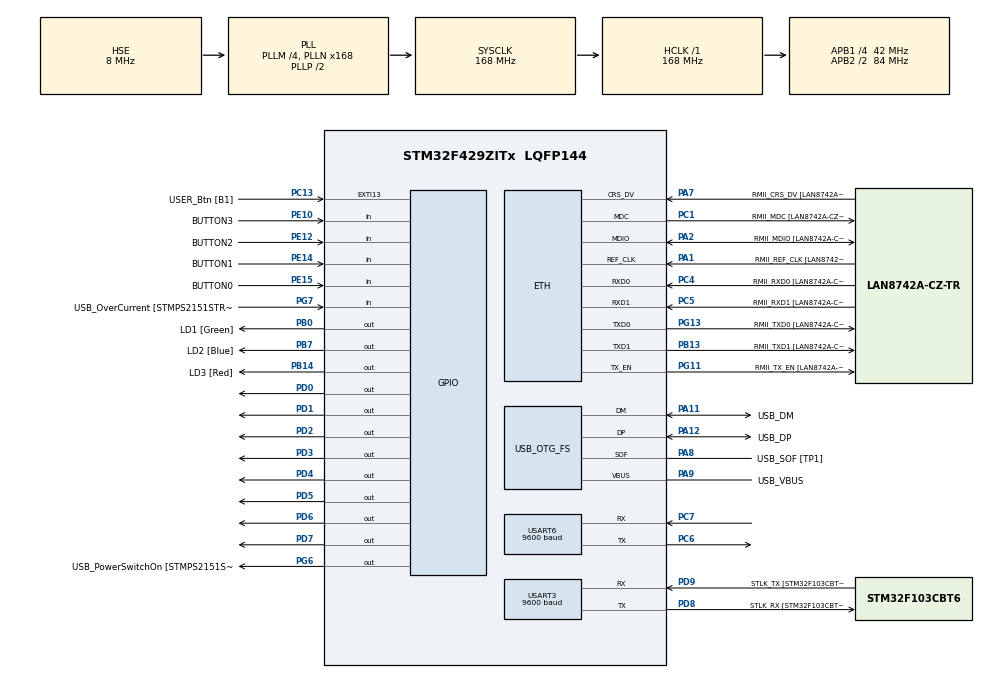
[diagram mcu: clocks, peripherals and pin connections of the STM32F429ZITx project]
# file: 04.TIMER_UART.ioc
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ETH.MediaInterface=HAL_ETH_RMII_MODE
ETH.PHY_Name=LAN8742A_PHY_ADDRESS
ETH.PHY_Value=0
ETH.PhyAddress=0
Mcu.Family=STM32F4
Mcu.Name=STM32F429ZITx
Mcu.Package=LQFP144
NVIC.PriorityGroup=NVIC_PRIORITYGROUP_4
NVIC.USART3_IRQn=true\:0\:0\:false\:false\:true\:true\:true\:true
NVIC.USART6_IRQn=true\:0\:0\:false\:false\:true\:true\:true\:true
PA1.GPIO_Label=RMII_REF_CLK [LAN8742A-CZ-TR_REFCLK0]
PA1.Mode=RMII
PA1.Signal=ETH_REF_CLK
PA10.GPIO_Label=USB_ID
PA10.Signal=USB_OTG_FS_ID
PA11.GPIO_Label=USB_DM
PA11.Mode=Device_Only
PA11.Signal=USB_OTG_FS_DM
PA12.GPIO_Label=USB_DP
PA12.Mode=Device_Only
PA12.Signal=USB_OTG_FS_DP
PA13.GPIO_Label=TMS
PA13.Mode=Serial_Wire
PA13.Signal=SYS_JTMS-SWDIO
PA14.GPIO_Label=TCK
PA14.Mode=Serial_Wire
PA14.Signal=SYS_JTCK-SWCLK
PA2.GPIO_Label=RMII_MDIO [LAN8742A-CZ-TR_MDIO]
PA2.Mode=RMII
PA2.Signal=ETH_MDIO
PA7.GPIO_Label=RMII_CRS_DV [LAN8742A-CZ-TR_CRS_DV]
PA7.Mode=RMII
PA7.Signal=ETH_CRS_DV
PA8.GPIO_Label=USB_SOF [TP1]
PA8.Mode=Activate_SOF_FS
PA8.Signal=USB_OTG_FS_SOF
PA9.GPIO_Label=USB_VBUS
PA9.Mode=Activate_VBUS
PA9.Signal=USB_OTG_FS_VBUS
PB0.GPIO_Label=LD1 [Green]
PB0.Signal=GPIO_Output
PB13.GPIO_Label=RMII_TXD1 [LAN8742A-CZ-TR_TXD1]
PB13.Mode=RMII
PB13.Signal=ETH_TXD1
PB14.GPIO_Label=LD3 [Red]
PB14.Signal=GPIO_Output
PB7.GPIO_Label=LD2 [Blue]
PB7.Signal=GPIO_Output
PC1.GPIO_Label=RMII_MDC [LAN8742A-CZ-TR_MDC]
PC1.Mode=RMII
PC1.Signal=ETH_MDC
PC13.GPIO_Label=USER_Btn [B1]
PC13.Signal=GPXTI13
PC14/OSC32_IN.Mode=LSE-External-Oscillator
PC14/OSC32_IN.Signal=RCC_OSC32_IN
PC15/OSC32_OUT.Mode=LSE-External-Oscillator
PC15/OSC32_OUT.Signal=RCC_OSC32_OUT
PC4.GPIO_Label=RMII_RXD0 [LAN8742A-CZ-TR_RXD0]
PC4.Mode=RMII
PC4.Signal=ETH_RXD0
PC5.GPIO_Label=RMII_RXD1 [LAN8742A-CZ-TR_RXD1]
PC5.Mode=RMII
PC5.Signal=ETH_RXD1
PC6.Mode=Asynchronous
PC6.Signal=USART6_TX
PC7.Mode=Asynchronous
PC7.Signal=USART6_RX
PD0.Signal=GPIO_Output
PD1.Signal=GPIO_Output
PD2.Signal=GPIO_Output
PD3.Signal=GPIO_Output
PD4.Signal=GPIO_Output
PD5.Signal=GPIO_Output
PD6.Signal=GPIO_Output
PD7.Signal=GPIO_Output
PD8.GPIO_Label=STLK_RX [STM32F103CBT6_PA3]
PD8.Mode=Asynchronous
PD8.Signal=USART3_TX
PD9.GPIO_Label=STLK_TX [STM32F103CBT6_PA2]
PD9.Mode=Asynchronous
PD9.Signal=USART3_RX
PE10.GPIO_Label=BUTTON3
PE10.Signal=GPIO_Input
PE12.GPIO_Label=BUTTON2
PE12.Signal=GPIO_Input
PE14.GPIO_Label=BUTTON1
PE14.Signal=GPIO_Input
PE15.GPIO_Label=BUTTON0
PE15.Signal=GPIO_Input
PG11.GPIO_Label=RMII_TX_EN [LAN8742A-CZ-TR_TXEN]
PG11.Mode=RMII
PG11.Signal=ETH_TX_EN
PG13.GPIO_Label=RMII_TXD0 [LAN8742A-CZ-TR_TXD0]
PG13.Mode=RMII
PG13.Signal=ETH_TXD0
PG6.GPIO_Label=USB_PowerSwitchOn [STMPS2151STR_EN]
PG6.Signal=GPIO_Output
PG7.GPIO_Label=USB_OverCurrent [STMPS2151STR_FAULT]
PG7.Signal=GPIO_Input
PH0/OSC_IN.GPIO_Label=MCO [STM32F103CBT6_PA8]
PH0/OSC_IN.Mode=HSE-External-Clock-Source
PH0/OSC_IN.Signal=RCC_OSC_IN
PH1/OSC_OUT.Mode=HSE-External-Clock-Source
PH1/OSC_OUT.Signal=RCC_OSC_OUT
ProjectManager.HeapSize=0x200
ProjectManager.StackSize=0x400
ProjectManager.TargetToolchain=STM32CubeIDE
RCC.48MHZClocksFreq_Value=48000000
RCC.AHBFreq_Value=168000000
RCC.APB1CLKDivider=RCC_HCLK_DIV4
RCC.APB1Freq_Value=42000000
RCC.APB1TimFreq_Value=84000000
RCC.APB2CLKDivider=RCC_HCLK_DIV2
RCC.APB2Freq_Value=84000000
RCC.APB2TimCLKDivider=2
RCC.APB2TimFreq_Value=168000000
RCC.CortexFreq_Value=168000000
RCC.HCLKFreq_Value=168000000
RCC.HSE_VALUE=8000000
RCC.HSI_VALUE=16000000
RCC.PLLM=4
RCC.PLLMUL=RCC_PLL_MUL9
RCC.PLLN=168
RCC.PLLQ=7
RCC.PRESCALERUSB=RCC_USBCLKSOURCE_PLL_DIV1_5
RCC.SYSCLKFreq_VALUE=168000000
RCC.SYSCLKSource=RCC_SYSCLKSOURCE_PLLCLK
RCC.SYSCLKSourceVirtual=RCC_SYSCLKSOURCE_PLLCLK
RCC.USBFreq_Value=48000000
RCC.VCOOutputFreq_Value=336000000
USART3.BaudRate=9600
USART3.VirtualMode=VM_ASYNC
USART6.BaudRate=9600
USART6.VirtualMode=VM_ASYNC
USB_OTG_FS.VirtualMode=Device_Only
board=NUCLEO-F429ZI

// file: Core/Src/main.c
/* USER CODE BEGIN Header */
/**
  ******************************************************************************
  * @file           : main.c
  * @brief          : Main program body
  ******************************************************************************
  * @attention
  *
  * Copyright (c) 2023 STMicroelectronics.
  * All rights reserved.
  *
  * This software is licensed under terms that can be found in the LICENSE file
  * in the root directory of this software component.
  * If no LICENSE file comes with this software, it is provided AS-IS.
  *
  ******************************************************************************
  */
/* USER CODE END Header */
#include "main.h"
#include "string.h"

ETH_TxPacketConfig TxConfig;
ETH_DMADescTypeDef  DMARxDscrTab[ETH_RX_DESC_CNT]; /* Ethernet Rx DMA Descriptors */
ETH_DMADescTypeDef  DMATxDscrTab[ETH_TX_DESC_CNT]; /* Ethernet Tx DMA Descriptors */

ETH_HandleTypeDef heth;

UART_HandleTypeDef huart3;							//
UART_HandleTypeDef huart6;							//

PCD_HandleTypeDef hpcd_USB_OTG_FS;

/* USER CODE BEGIN PV */
uint8_t rx_data;									// UART3 rx data
uint8_t bt_rx_data;									// UART6 bt rx data
/* USER CODE END PV */

void SystemClock_Config(void);
static void MX_GPIO_Init(void);
static void MX_ETH_Init(void);
static void MX_USART3_UART_Init(void);
static void MX_USB_OTG_FS_PCD_Init(void);
static void MX_USART6_UART_Init(void);
/* USER CODE BEGIN PFP */
extern void led_main(void);							// different file func declaration
extern void pc_command_processing(void);			// declaration (from uart.c)
extern void bt_command_processing(void);			// declaration (from uart.c)
/* USER CODE END PFP */

/* USER CODE BEGIN 0 */
//==============================================
// call by SysTick_Handler of stm32f4xx_it.c
// ARM default timer
// enter here every 1ms
//==============================================
volatile int t1ms_counter = 0;						// volatile : disable optimize
void HAL_SYSTICK_Handler(void)						// func
{
	t1ms_counter++;									// 1ms timer
}
//==============================================
// printf.c -> copy									120
//==============================================
//----------  printf start ---------------------------------------------------------------------
#ifdef __GNUC__
/* With GCC, small printf (option LD Linker->Libraries->Small printf
   set to 'Yes') calls __io_putchar() */
#define PUTCHAR_PROTOTYPE int __io_putchar(int ch)
#else
#define PUTCHAR_PROTOTYPE int fputc(int ch, FILE *f)
#endif /* __GNUC_ */
/**
  * @brief  Retargets the C library printf function to the USART.
  * @param  None
  * @retval None
  */
PUTCHAR_PROTOTYPE   // Add for printf
{
  /* Place your implementation of fputc here */
  /* e.g. write a character to the USART3 and Loop until the end of transmission */
  HAL_UART_Transmit(&huart3, (uint8_t *)&ch, 1, 0xFFFF);

  return ch;
}
//----------  printf end -----------------------------------------------------------------------

/* USER CODE END 0 */

int main(void)
{

  /* MCU Configuration--------------------------------------------------------*/

  /* Reset of all peripherals, Initializes the Flash interface and the Systick. */
  HAL_Init();

  /* Configure the system clock */
  SystemClock_Config();

  /* Initialize all configured peripherals */
  MX_GPIO_Init();
  MX_ETH_Init();
  MX_USART3_UART_Init();							//
  MX_USB_OTG_FS_PCD_Init();
  MX_USART6_UART_Init();							//
  /* USER CODE BEGIN 2 */
  HAL_UART_Receive_IT(&huart3, &rx_data, 1);		// assing to RX INT(interrupt)
  HAL_UART_Receive_IT(&huart6, &bt_rx_data, 1);		// for BT assing to RX INT(interrupt)
printf("led_main() start !!!\n");  	  	  	  	  	// test code : printf
//  led_main();										// write only func name
  /* USER CODE END 2 */

  /* Infinite loop */
  /* USER CODE BEGIN WHILE */
  while (1)
  {
//printf("6048\n");									// test code -> oscilloscope pulse : 6048's HEX value check! ( //pc_command_processing(); & //bt_command_processing(); )
//HAL_Delay(100);
pc_command_processing();							// call cycle
bt_command_processing();							// call
    /* USER CODE END WHILE */

    /* USER CODE BEGIN 3 */
//	  HAL_GPIO_TogglePin(GPIOB, GPIO_PIN_0);		// LED1
//	  HAL_GPIO_TogglePin(GPIOB, GPIO_PIN_7);		// LED2
//	  HAL_GPIO_TogglePin(GPIOB, GPIO_PIN_14);		// LED3
//	  HAL_Delay(200);								// 200ms delay
  }
  /* USER CODE END 3 */
}

void SystemClock_Config(void)
{
  RCC_OscInitTypeDef RCC_OscInitStruct = {0};
  RCC_ClkInitTypeDef RCC_ClkInitStruct = {0};

  /** Configure the main internal regulator output voltage
  */
  __HAL_RCC_PWR_CLK_ENABLE();
  __HAL_PWR_VOLTAGESCALING_CONFIG(PWR_REGULATOR_VOLTAGE_SCALE1);

  /** Initializes the RCC Oscillators according to the specified parameters
  * in the RCC_OscInitTypeDef structure.
  */
  RCC_OscInitStruct.OscillatorType = RCC_OSCILLATORTYPE_HSE;
  RCC_OscInitStruct.HSEState = RCC_HSE_BYPASS;
  RCC_OscInitStruct.PLL.PLLState = RCC_PLL_ON;
  RCC_OscInitStruct.PLL.PLLSource = RCC_PLLSOURCE_HSE;
  RCC_OscInitStruct.PLL.PLLM = 4;
  RCC_OscInitStruct.PLL.PLLN = 168;
  RCC_OscInitStruct.PLL.PLLP = RCC_PLLP_DIV2;
  RCC_OscInitStruct.PLL.PLLQ = 7;
  if (HAL_RCC_OscConfig(&RCC_OscInitStruct) != HAL_OK)
  {
    Error_Handler();
  }

  /** Initializes the CPU, AHB and APB buses clocks
  */
  RCC_ClkInitStruct.ClockType = RCC_CLOCKTYPE_HCLK|RCC_CLOCKTYPE_SYSCLK
                              |RCC_CLOCKTYPE_PCLK1|RCC_CLOCKTYPE_PCLK2;
  RCC_ClkInitStruct.SYSCLKSource = RCC_SYSCLKSOURCE_PLLCLK;
  RCC_ClkInitStruct.AHBCLKDivider = RCC_SYSCLK_DIV1;
  RCC_ClkInitStruct.APB1CLKDivider = RCC_HCLK_DIV4;
  RCC_ClkInitStruct.APB2CLKDivider = RCC_HCLK_DIV2;

  if (HAL_RCC_ClockConfig(&RCC_ClkInitStruct, FLASH_LATENCY_5) != HAL_OK)
  {
    Error_Handler();
  }
}

static void MX_ETH_Init(void)
{

   static uint8_t MACAddr[6];

  heth.Instance = ETH;
  MACAddr[0] = 0x00;
  MACAddr[1] = 0x80;
  MACAddr[2] = 0xE1;
  MACAddr[3] = 0x00;
  MACAddr[4] = 0x00;
  MACAddr[5] = 0x00;
  heth.Init.MACAddr = &MACAddr[0];
  heth.Init.MediaInterface = HAL_ETH_RMII_MODE;
  heth.Init.TxDesc = DMATxDscrTab;
  heth.Init.RxDesc = DMARxDscrTab;
  heth.Init.RxBuffLen = 1524;

  if (HAL_ETH_Init(&heth) != HAL_OK)
  {
    Error_Handler();
  }

  memset(&TxConfig, 0 , sizeof(ETH_TxPacketConfig));
  TxConfig.Attributes = ETH_TX_PACKETS_FEATURES_CSUM | ETH_TX_PACKETS_FEATURES_CRCPAD;
  TxConfig.ChecksumCtrl = ETH_CHECKSUM_IPHDR_PAYLOAD_INSERT_PHDR_CALC;
  TxConfig.CRCPadCtrl = ETH_CRC_PAD_INSERT;

}

static void MX_USART3_UART_Init(void)
{

  huart3.Instance = USART3;
  huart3.Init.BaudRate = 9600;
  huart3.Init.WordLength = UART_WORDLENGTH_8B;
  huart3.Init.StopBits = UART_STOPBITS_1;
  huart3.Init.Parity = UART_PARITY_NONE;
  huart3.Init.Mode = UART_MODE_TX_RX;
  huart3.Init.HwFlowCtl = UART_HWCONTROL_NONE;
  huart3.Init.OverSampling = UART_OVERSAMPLING_16;
  if (HAL_UART_Init(&huart3) != HAL_OK)
  {
    Error_Handler();
  }

}

static void MX_USART6_UART_Init(void)
{

  huart6.Instance = USART6;
  huart6.Init.BaudRate = 9600;
  huart6.Init.WordLength = UART_WORDLENGTH_8B;
  huart6.Init.StopBits = UART_STOPBITS_1;
  huart6.Init.Parity = UART_PARITY_NONE;
  huart6.Init.Mode = UART_MODE_TX_RX;
  huart6.Init.HwFlowCtl = UART_HWCONTROL_NONE;
  huart6.Init.OverSampling = UART_OVERSAMPLING_16;
  if (HAL_UART_Init(&huart6) != HAL_OK)
  {
    Error_Handler();
  }

}

static void MX_USB_OTG_FS_PCD_Init(void)
{

  hpcd_USB_OTG_FS.Instance = USB_OTG_FS;
  hpcd_USB_OTG_FS.Init.dev_endpoints = 4;
  hpcd_USB_OTG_FS.Init.speed = PCD_SPEED_FULL;
  hpcd_USB_OTG_FS.Init.dma_enable = DISABLE;
  hpcd_USB_OTG_FS.Init.phy_itface = PCD_PHY_EMBEDDED;
  hpcd_USB_OTG_FS.Init.Sof_enable = ENABLE;
  hpcd_USB_OTG_FS.Init.low_power_enable = DISABLE;
  hpcd_USB_OTG_FS.Init.lpm_enable = DISABLE;
  hpcd_USB_OTG_FS.Init.vbus_sensing_enable = ENABLE;
  hpcd_USB_OTG_FS.Init.use_dedicated_ep1 = DISABLE;
  if (HAL_PCD_Init(&hpcd_USB_OTG_FS) != HAL_OK)
  {
    Error_Handler();
  }

}

static void MX_GPIO_Init(void)
{
  GPIO_InitTypeDef GPIO_InitStruct = {0};

  /* GPIO Ports Clock Enable */
  __HAL_RCC_GPIOC_CLK_ENABLE();
  __HAL_RCC_GPIOH_CLK_ENABLE();
  __HAL_RCC_GPIOA_CLK_ENABLE();
  __HAL_RCC_GPIOB_CLK_ENABLE();
  __HAL_RCC_GPIOE_CLK_ENABLE();
  __HAL_RCC_GPIOD_CLK_ENABLE();
  __HAL_RCC_GPIOG_CLK_ENABLE();

  /*Configure GPIO pin Output Level */
  HAL_GPIO_WritePin(GPIOB, LD1_Pin|LD3_Pin|LD2_Pin, GPIO_PIN_RESET);

  /*Configure GPIO pin Output Level */
  HAL_GPIO_WritePin(USB_PowerSwitchOn_GPIO_Port, USB_PowerSwitchOn_Pin, GPIO_PIN_RESET);

  /*Configure GPIO pin Output Level */
  HAL_GPIO_WritePin(GPIOD, GPIO_PIN_0|GPIO_PIN_1|GPIO_PIN_2|GPIO_PIN_3
                          |GPIO_PIN_4|GPIO_PIN_5|GPIO_PIN_6|GPIO_PIN_7, GPIO_PIN_RESET);

  /*Configure GPIO pin : USER_Btn_Pin */
  GPIO_InitStruct.Pin = USER_Btn_Pin;
  GPIO_InitStruct.Mode = GPIO_MODE_IT_RISING;
  GPIO_InitStruct.Pull = GPIO_NOPULL;
  HAL_GPIO_Init(USER_Btn_GPIO_Port, &GPIO_InitStruct);

  /*Configure GPIO pins : LD1_Pin LD3_Pin LD2_Pin */
  GPIO_InitStruct.Pin = LD1_Pin|LD3_Pin|LD2_Pin;
  GPIO_InitStruct.Mode = GPIO_MODE_OUTPUT_PP;
  GPIO_InitStruct.Pull = GPIO_NOPULL;
  GPIO_InitStruct.Speed = GPIO_SPEED_FREQ_LOW;
  HAL_GPIO_Init(GPIOB, &GPIO_InitStruct);

  /*Configure GPIO pins : BUTTON3_Pin BUTTON2_Pin BUTTON1_Pin BUTTON0_Pin */
  GPIO_InitStruct.Pin = BUTTON3_Pin|BUTTON2_Pin|BUTTON1_Pin|BUTTON0_Pin;
  GPIO_InitStruct.Mode = GPIO_MODE_INPUT;
  GPIO_InitStruct.Pull = GPIO_NOPULL;
  HAL_GPIO_Init(GPIOE, &GPIO_InitStruct);

  /*Configure GPIO pin : USB_PowerSwitchOn_Pin */
  GPIO_InitStruct.Pin = USB_PowerSwitchOn_Pin;
  GPIO_InitStruct.Mode = GPIO_MODE_OUTPUT_PP;
  GPIO_InitStruct.Pull = GPIO_NOPULL;
  GPIO_InitStruct.Speed = GPIO_SPEED_FREQ_LOW;
  HAL_GPIO_Init(USB_PowerSwitchOn_GPIO_Port, &GPIO_InitStruct);

  /*Configure GPIO pin : USB_OverCurrent_Pin */
  GPIO_InitStruct.Pin = USB_OverCurrent_Pin;
  GPIO_InitStruct.Mode = GPIO_MODE_INPUT;
  GPIO_InitStruct.Pull = GPIO_NOPULL;
  HAL_GPIO_Init(USB_OverCurrent_GPIO_Port, &GPIO_InitStruct);

  /*Configure GPIO pins : PD0 PD1 PD2 PD3
                           PD4 PD5 PD6 PD7 */
  GPIO_InitStruct.Pin = GPIO_PIN_0|GPIO_PIN_1|GPIO_PIN_2|GPIO_PIN_3
                          |GPIO_PIN_4|GPIO_PIN_5|GPIO_PIN_6|GPIO_PIN_7;
  GPIO_InitStruct.Mode = GPIO_MODE_OUTPUT_PP;
  GPIO_InitStruct.Pull = GPIO_NOPULL;
  GPIO_InitStruct.Speed = GPIO_SPEED_FREQ_LOW;
  HAL_GPIO_Init(GPIOD, &GPIO_InitStruct);

}

void Error_Handler(void)
{
  __disable_irq();
  while (1)
  {
  }
}
